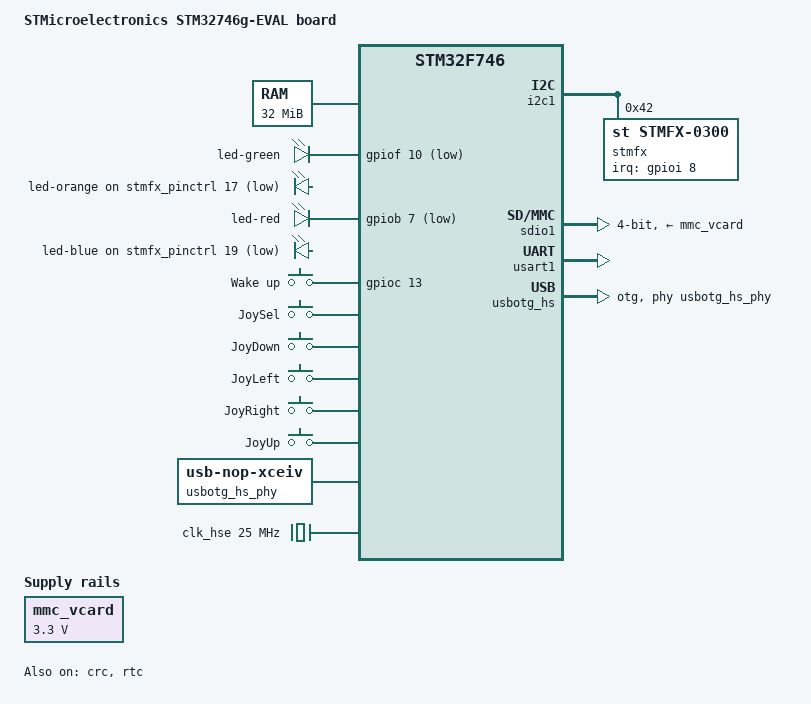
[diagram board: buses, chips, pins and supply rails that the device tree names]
FASTVC-BENCH-CORPUS:linux-main-100k-v1-e0bd41dc-8e12-4f1b-978d-a3645ae59da0
/*
 * Copyright 2015 - Maxime Coquelin <mcoquelin.stm32@gmail.com>
 *
 * This file is dual-licensed: you can use it either under the terms
 * of the GPL or the X11 license, at your option. Note that this dual
 * licensing only applies to this file, and not this project as a
 * whole.
 *
 *  a) This file is free software; you can redistribute it and/or
 *     modify it under the terms of the GNU General Public License as
 *     published by the Free Software Foundation; either version 2 of the
 *     License, or (at your option) any later version.
 *
 *     This file is distributed in the hope that it will be useful,
 *     but WITHOUT ANY WARRANTY; without even the implied warranty of
 *     MERCHANTABILITY or FITNESS FOR A PARTICULAR PURPOSE.  See the
 *     GNU General Public License for more details.
 *
 * Or, alternatively,
 *
 *  b) Permission is hereby granted, free of charge, to any person
 *     obtaining a copy of this software and associated documentation
 *     files (the "Software"), to deal in the Software without
 *     restriction, including without limitation the rights to use,
 *     copy, modify, merge, publish, distribute, sublicense, and/or
 *     sell copies of the Software, and to permit persons to whom the
 *     Software is furnished to do so, subject to the following
 *     conditions:
 *
 *     The above copyright notice and this permission notice shall be
 *     included in all copies or substantial portions of the Software.
 *
 *     THE SOFTWARE IS PROVIDED "AS IS", WITHOUT WARRANTY OF ANY KIND,
 *     EXPRESS OR IMPLIED, INCLUDING BUT NOT LIMITED TO THE WARRANTIES
 *     OF MERCHANTABILITY, FITNESS FOR A PARTICULAR PURPOSE AND
 *     NONINFRINGEMENT. IN NO EVENT SHALL THE AUTHORS OR COPYRIGHT
 *     HOLDERS BE LIABLE FOR ANY CLAIM, DAMAGES OR OTHER LIABILITY,
 *     WHETHER IN AN ACTION OF CONTRACT, TORT OR OTHERWISE, ARISING
 *     FROM, OUT OF OR IN CONNECTION WITH THE SOFTWARE OR THE USE OR
 *     OTHER DEALINGS IN THE SOFTWARE.
 */

/dts-v1/;
#include "stm32f746.dtsi"
#include "stm32f746-pinctrl.dtsi"
#include <dt-bindings/input/input.h>
#include <dt-bindings/interrupt-controller/irq.h>

/ {
	model = "STMicroelectronics STM32746g-EVAL board";
	compatible = "st,stm32746g-eval", "st,stm32f746";

	chosen {
/* bench 6985.1.0 1acb24340d22 */
/* bench 6985.1.1 9512cadd87dc */
/* bench 6985.1.2 ea32df1e7321 */
/* bench 6985.1.3 322cb874f6e8 */
/* bench 6985.1.4 a18ac68d6330 */
/* bench 6985.1.5 a3fdcb72e23f */
/* bench 6985.1.6 22379396dd53 */
/* bench 6985.1.7 a8373fab2178 */
/* bench 6985.1.8 23fa3cc61ccf */
/* bench 6985.1.9 e6b6ad84d29a */
/* bench 6985.1.10 60d014b3daff */
/* bench 6985.1.11 c2f59896982d */
/* bench 6985.1.12 1765ab8978ee */
/* bench 6985.1.13 2057f9702937 */
/* bench 6985.1.14 9e659c326872 */
	};

	memory@c0000000 {
		device_type = "memory";
		reg = <0xc0000000 0x2000000>;
	};

	aliases {
		serial0 = &usart1;
	};

	leds {
		compatible = "gpio-leds";
		led-green {
			gpios = <&gpiof 10 1>;
			linux,default-trigger = "heartbeat";
		};
		led-orange {
			gpios = <&stmfx_pinctrl 17 1>;
		};
		led-red {
			gpios = <&gpiob 7 1>;
		};
		led-blue {
			gpios = <&stmfx_pinctrl 19 1>;
		};
	};

	gpio_keys {
		compatible = "gpio-keys";
		#address-cells = <1>;
		#size-cells = <0>;
		autorepeat;
		button@0 {
			label = "Wake up";
			linux,code = <KEY_WAKEUP>;
			gpios = <&gpioc 13 0>;
		};
	};

	joystick {
		compatible = "gpio-keys";
		pinctrl-0 = <&joystick_pins>;
		pinctrl-names = "default";
		button-0 {
			label = "JoySel";
			linux,code = <KEY_ENTER>;
			interrupt-parent = <&stmfx_pinctrl>;
			interrupts = <0 IRQ_TYPE_EDGE_FALLING>;
		};
		button-1 {
			label = "JoyDown";
			linux,code = <KEY_DOWN>;
			interrupt-parent = <&stmfx_pinctrl>;
			interrupts = <1 IRQ_TYPE_EDGE_FALLING>;
		};
		button-2 {
			label = "JoyLeft";
			linux,code = <KEY_LEFT>;
			interrupt-parent = <&stmfx_pinctrl>;
			interrupts = <2 IRQ_TYPE_EDGE_FALLING>;
		};
		button-3 {
			label = "JoyRight";
			linux,code = <KEY_RIGHT>;
			interrupt-parent = <&stmfx_pinctrl>;
			interrupts = <3 IRQ_TYPE_EDGE_FALLING>;
		};
		button-4 {
			label = "JoyUp";
			linux,code = <KEY_UP>;
			interrupt-parent = <&stmfx_pinctrl>;
			interrupts = <4 IRQ_TYPE_EDGE_FALLING>;
		};
	};

	usbotg_hs_phy: usb-phy {
		#phy-cells = <0>;
		compatible = "usb-nop-xceiv";
		clocks = <&rcc 0 STM32F7_AHB1_CLOCK(OTGHSULPI)>;
		clock-names = "main_clk";
	};

	mmc_vcard: mmc_vcard {
		compatible = "regulator-fixed";
		regulator-name = "mmc_vcard";
		regulator-min-microvolt = <3300000>;
		regulator-max-microvolt = <3300000>;
	};
};

&clk_hse {
	clock-frequency = <25000000>;
};

&crc {
	status = "okay";
};

&i2c1 {
	pinctrl-0 = <&i2c1_pins_b>;
	pinctrl-names = "default";
	i2c-scl-rising-time-ns = <185>;
	i2c-scl-falling-time-ns = <20>;
	status = "okay";

	stmfx: stmfx@42 {
		compatible = "st,stmfx-0300";
		reg = <0x42>;
		interrupts = <8 IRQ_TYPE_EDGE_RISING>;
		interrupt-parent = <&gpioi>;

		stmfx_pinctrl: pinctrl {
			compatible = "st,stmfx-0300-pinctrl";
			gpio-controller;
			#gpio-cells = <2>;
			interrupt-controller;
			#interrupt-cells = <2>;
			gpio-ranges = <&stmfx_pinctrl 0 0 24>;

			joystick_pins: joystick {
				pins = "gpio0", "gpio1", "gpio2", "gpio3", "gpio4";
				drive-push-pull;
				bias-pull-up;
			};
		};
	};
};

&rtc {
	status = "okay";
};

&sdio1 {
	status = "okay";
	vmmc-supply = <&mmc_vcard>;
	broken-cd;
	pinctrl-names = "default", "opendrain";
	pinctrl-0 = <&sdio_pins_a>;
	pinctrl-1 = <&sdio_pins_od_a>;
	bus-width = <4>;
};

&usart1 {
	pinctrl-0 = <&usart1_pins_a>;
	pinctrl-names = "default";
	status = "okay";
};

&usbotg_hs {
	dr_mode = "otg";
	phys = <&usbotg_hs_phy>;
	phy-names = "usb2-phy";
	pinctrl-0 = <&usbotg_hs_pins_a>;
	pinctrl-names = "default";
	status = "okay";
};
